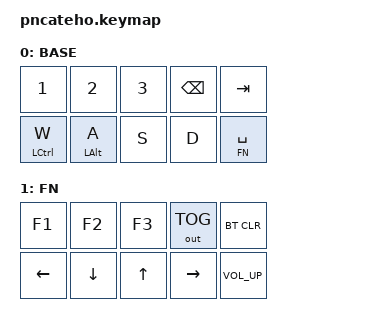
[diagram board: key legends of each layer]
/*
 * PNCATEHO left-only: 10 keys (2 rows x 5)
 * Порядок позиций = порядок input-gpios в overlay:
 *   [0] [1] [2] [3] [4]
 *   [5] [6] [7] [8] [9]
 */

#include <behaviors.dtsi>
#include <dt-bindings/zmk/keys.h>
#include <dt-bindings/zmk/bt.h>
#include <dt-bindings/zmk/outputs.h>

#define BASE 0
#define FN   1

/ {
  keymap {
    compatible = "zmk,keymap";

    base_layer {
      label = "BASE";
      bindings = <
        &kp N1           &kp N2        &kp N3        &kp BSPC      &kp TAB
        &mt LCTRL W      &mt LALT A     &kp S         &kp D         &lt FN SPACE
      >;
    };

    fn_layer {
      label = "FN";
      bindings = <
        &kp F1           &kp F2        &kp F3        &out OUT_TOG   &bt BT_CLR
        &kp LEFT         &kp DOWN      &kp UP        &kp RIGHT      &kp C_VOL_UP
      >;
    };
  };
};
